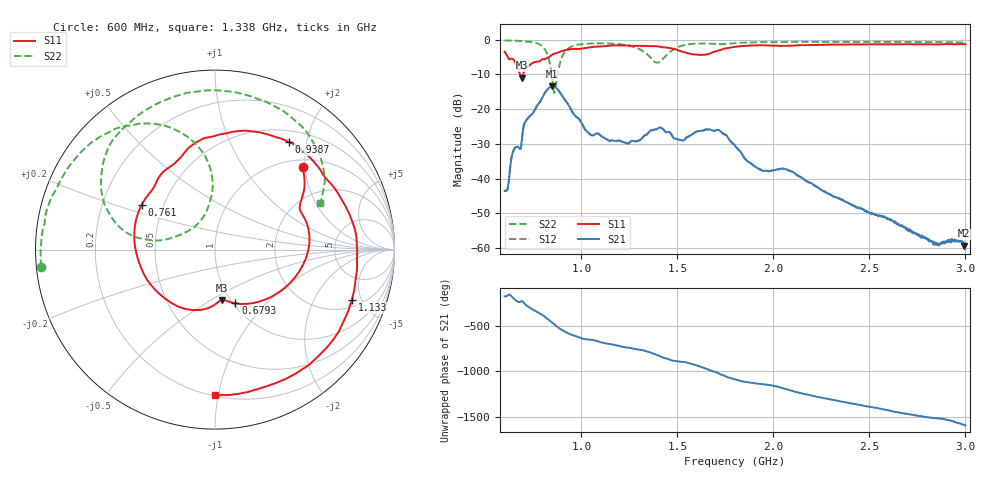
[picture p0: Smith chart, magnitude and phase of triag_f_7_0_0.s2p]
#  HZ  S  RI  R  50.00
! Rohde & Schwarz ZVB8 2Ports - Version 2.81 - 1145.1010k08 SN: 100113
! Date: 2016-05-03 01:37:29
! Measurements: S11 S21 S12 S22
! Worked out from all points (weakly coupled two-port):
!   1000 points, 600 MHz to 3 GHz, reference 50 ohm
!   highest |S21| = -13.43 dB at 847.4 MHz (marker M1); lowest = -59.3 dB at 2.99 GHz (marker M2)
!   lowest |S11| = -11.0 dB at 688.9 MHz (marker M3), VSWR 1.79, Z = 45.8 - j27.9 ohm
!   |S11| at or under -10 dB: 680 MHz to 696.5 MHz (16.52 MHz wide, 2.4 % of centre)
!   |S22| runs from -15.3 to -0.2 dB; largest |S21 - S12| = 0.0016
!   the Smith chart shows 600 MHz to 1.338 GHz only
!   S11 on the Smith chart (normalised r, x): 600 MHz: 1.16, +1.94; 679.3 MHz: 1.03, -0.68; 761 MHz: 0.38, +0.24; 938.7 MHz: 0.67, +1.71; 1.133 GHz: 2.52, -4.16; 1.338 GHz: 0.21, -0.98
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6e8  0.4875 0.4605  -0.00665 -0.00046  -0.00669 -0.000499  -0.969 -0.0955
6.792793e8  0.1138 -0.2995  -0.0138 0.023  -0.0139 0.023  -0.9206 0.2679
6.888889e8  0.038 -0.2801  -0.0234 0.0255  -0.0236 0.0252  -0.8994 0.3115
7.60961e8  -0.4079 0.2504  0.0932 0.042  0.0923 0.0421  -0.6447 0.626
8.09009e8  -0.2381 0.47  0.133 -0.107  0.1332 -0.1065  -0.2595 0.6839
8.474474e8  -0.1072 0.5959  -0.0526 -0.2064  -0.0525 -0.206  -0.0245 0.2799
8.810811e8  0.0806 0.6521  -0.1757 -0.0605  -0.1754 -0.0609  -0.3748 0.0551
9.387387e8  0.4139 0.5996  -0.0696 0.0815  -0.07 0.0811  -0.6303 0.4386
1.001201e9  0.6462 0.3663  0.00753 0.0629  0.00701 0.0629  -0.4527 0.728
1.133333e9  0.7627 -0.2804  0.0332 0.0155  0.033 0.0157  0.1086 0.8775
1.337538e9  -0.00118 -0.8108  0.0224 -0.0364  0.0226 -0.0362  0.5843 0.2576
1.4e9  -0.2769 -0.7469  -0.0122 -0.052  -0.0119 -0.052  0.4023 0.2383
1.479279e9  -0.5138 -0.5292  -0.0371 -0.0115  -0.037 -0.0116  0.6394 0.337
1.58018e9  -0.5563 -0.2633  -0.0413 0.0147  -0.0414 0.0146  0.87 -0.0539
1.801201e9  -0.7619 0.2019  0.0292 -0.0046  0.029 -0.00445  0.4999 -0.7334
1.990991e9  -0.3215 0.7552  0.00366 -0.0126  0.00376 -0.0125  -0.0774 -0.9169
2.2e9  0.4326 0.7166  -0.00853 0.000876  -0.00846 0.000809  -0.6201 -0.691
2.404204e9  0.8538 0.00799  0.000119 0.00427  9.83e-05 0.00425  -0.8924 -0.261
2.601201e9  0.4906 -0.7031  0.0026 0.000556  0.00256 0.000564  -0.9105 0.186
2.783784e9  -0.1854 -0.8365  0.000796 -0.00123  0.00081 -0.00115  -0.7319 0.5625
2.99039e9  -0.7552 -0.4126  -0.00088 -0.00064  -0.00096 -0.000714  -0.3553 0.8395
3e9  -0.7693 -0.385  -0.000983 -0.000503  -0.000959 -0.000475  -0.3333 0.8474
